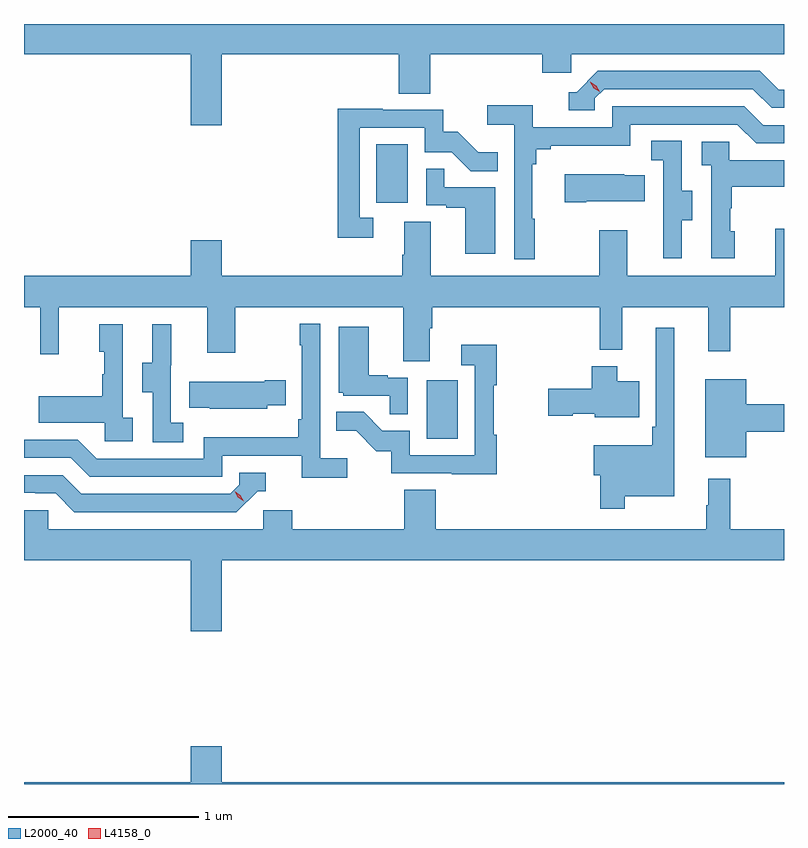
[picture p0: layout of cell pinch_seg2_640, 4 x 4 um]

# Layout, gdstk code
import gdstk
lib = gdstk.Library(unit=1e-6, precision=1e-09)
def R(c, l, rs):  # rectangles x0, y0, x1, y1
    for r in rs: c.add(gdstk.rectangle(r[:2], r[2:], *l))
def P(c, l, *ps):  # polygons
    for p in ps: c.add(gdstk.Polygon(p, *l))
L2000_40 = (2000, 40)
L4158_0 = (4158, 0)

pinch_seg2_640 = lib.new_cell('pinch_seg2_640')
R(pinch_seg2_640, L2000_40, [(1041.374,602.988,1041.538,603.295), (1041.11,604.23,1041.274,604.537)])
P(pinch_seg2_640, L2000_40, [(1040.296,605.012),(1041.227,605.012),(1041.227,604.804),(1041.392,604.804),(1041.392,605.012),(1041.983,605.012),(1041.983,604.914),(1042.134,604.914),(1042.134,605.012),(1043.255,605.012),(1043.255,605.17),(1039.255,605.17),(1039.255,605.012),(1040.132,605.012),(1040.132,604.638),(1040.296,604.638)],
  [(1042.26,604.779),(1042.308,604.827),(1043.091,604.827),(1043.19,604.728),(1043.255,604.728),(1043.255,604.824),(1043.227,604.824),(1043.128,604.923),(1042.275,604.923),(1042.164,604.812),(1042.121,604.812),(1042.121,604.716),(1042.26,604.716)],
  [(1041.943,604.145),(1041.931,604.145),(1041.931,604.433),(1041.95,604.433),(1041.95,604.51),(1042.027,604.51),(1042.027,604.529),(1042.446,604.529),(1042.446,604.641),(1043.01,604.641),(1043.109,604.542),(1043.255,604.542),(1043.255,604.638),(1043.146,604.638),(1043.047,604.737),(1042.35,604.737),(1042.35,604.626),(1041.932,604.626),(1041.932,604.742),(1041.693,604.742),(1041.693,604.64),(1041.834,604.64),(1041.834,603.933),(1041.943,603.933)],
  [(1041.094,604.149),(1041.021,604.149),(1041.021,604.623),(1041.363,604.623),(1041.363,604.494),(1041.507,604.494),(1041.605,604.396),(1041.749,604.396),(1041.749,604.495),(1041.645,604.495),(1041.538,604.602),(1041.462,604.602),(1041.462,604.719),(1041.143,604.719),(1041.143,604.724),(1040.905,604.724),(1040.905,604.044),(1041.094,604.044)],
  [(1042.717,604.138),(1042.771,604.138),(1042.771,604.293),(1042.716,604.293),(1042.716,604.556),(1042.557,604.556),(1042.557,604.453),(1042.62,604.453),(1042.62,604.149),(1042.619,604.149),(1042.619,603.936),(1042.717,603.936)],
  [(1042.996,604.08),(1042.971,604.08),(1042.971,604.199),(1042.981,604.199),(1042.981,604.313),(1043.255,604.313),(1043.255,604.453),(1042.968,604.453),(1042.968,604.551),(1042.821,604.551),(1042.821,604.427),(1042.872,604.427),(1042.872,603.936),(1042.996,603.936)],
  [(1041.736,604.311),(1041.467,604.311),(1041.467,604.409),(1041.372,604.409),(1041.372,604.215),(1041.478,604.215),(1041.478,604.203),(1041.578,604.203),(1041.578,603.96),(1041.736,603.96)],
  [(1042.213,604.238),(1042.523,604.238),(1042.523,604.375),(1042.415,604.375),(1042.415,604.378),(1042.101,604.378),(1042.101,604.231),(1042.213,604.231)],
  [(1041.391,603.568),(1041.404,603.568),(1041.404,603.68),(1042.285,603.68),(1042.285,603.455),(1042.403,603.455),(1042.403,603.68),(1042.856,603.68),(1042.856,603.447),(1042.973,603.447),(1042.973,603.68),(1043.255,603.68),(1043.255,604.093),(1043.21,604.093),(1043.21,603.844),(1042.429,603.844),(1042.429,604.084),(1042.282,604.084),(1042.282,603.844),(1041.397,603.844),(1041.397,604.13),(1041.257,604.13),(1041.257,603.956),(1041.245,603.956),(1041.245,603.844),(1040.296,603.844),(1040.296,604.033),(1040.132,604.033),(1040.132,603.844),(1039.255,603.844),(1039.255,603.68),(1039.341,603.68),(1039.341,603.432),(1039.439,603.432),(1039.439,603.68),(1040.219,603.68),(1040.219,603.441),(1040.367,603.441),(1040.367,603.68),(1041.251,603.68),(1041.251,603.394),(1041.391,603.394)],
  [(1040.956,602.884),(1040.814,602.884),(1040.814,603.592),(1040.706,603.592),(1040.706,603.479),(1040.718,603.479),(1040.718,603.091),(1040.698,603.091),(1040.698,602.995),(1040.202,602.995),(1040.202,602.883),(1039.638,602.883),(1039.539,602.982),(1039.255,602.982),(1039.255,602.886),(1039.502,602.886),(1039.601,602.787),(1040.298,602.787),(1040.298,602.898),(1040.717,602.898),(1040.717,602.782),(1040.956,602.782)],
  [(1039.828,603.098),(1039.776,603.098),(1039.776,603.589),(1039.652,603.589),(1039.652,603.444),(1039.678,603.444),(1039.678,603.326),(1039.668,603.326),(1039.668,603.211),(1039.333,603.211),(1039.333,603.071),(1039.68,603.071),(1039.68,602.973),(1039.828,602.973)],
  [(1040.092,603.071),(1040.028,603.071),(1040.028,603.375),(1040.03,603.375),(1040.03,603.589),(1039.931,603.589),(1039.931,603.387),(1039.877,603.387),(1039.877,603.232),(1039.932,603.232),(1039.932,602.968),(1040.092,602.968)],
  [(1041.276,603.309),(1041.17,603.309),(1041.17,603.322),(1041.07,603.322),(1041.07,603.577),(1040.912,603.577),(1040.912,603.228),(1040.934,603.228),(1040.934,603.213),(1041.181,603.213),(1041.181,603.115),(1041.276,603.115)],
  [(1042.417,602.684),(1042.678,602.684),(1042.678,603.571),(1042.581,603.571),(1042.581,603.049),(1042.561,603.049),(1042.561,602.953),(1042.254,602.953),(1042.254,602.795),(1042.288,602.795),(1042.288,602.619),(1042.417,602.619)],
  [(1041.743,603.008),(1041.728,603.008),(1041.728,603.268),(1041.743,603.268),(1041.743,603.481),(1041.555,603.481),(1041.555,603.375),(1041.627,603.375),(1041.627,602.901),(1041.285,602.901),(1041.285,603.03),(1041.141,603.03),(1041.043,603.128),(1040.899,603.128),(1040.899,603.029),(1041.003,603.029),(1041.11,602.922),(1041.187,602.922),(1041.187,602.805),(1041.505,602.805),(1041.505,602.8),(1041.743,602.8)],
  [(1042.492,603.289),(1042.378,603.289),(1042.378,603.37),(1042.244,603.37),(1042.244,603.249),(1042.014,603.249),(1042.014,603.107),(1042.143,603.107),(1042.143,603.119),(1042.26,603.119),(1042.26,603.101),(1042.492,603.101)],
  [(1043.056,603.023),(1043.255,603.023),(1043.255,603.17),(1043.056,603.17),(1043.056,603.301),(1042.841,603.301),(1042.841,602.891),(1043.056,602.891)],
  [(1040.535,603.164),(1040.633,603.164),(1040.633,603.294),(1040.522,603.294),(1040.522,603.286),(1040.125,603.286),(1040.125,603.149),(1040.233,603.149),(1040.233,603.146),(1040.535,603.146)],
  [(1040.484,602.712),(1040.527,602.712),(1040.527,602.808),(1040.388,602.808),(1040.388,602.745),(1040.34,602.697),(1039.557,602.697),(1039.458,602.796),(1039.255,602.796),(1039.255,602.703),(1039.314,602.703),(1039.314,602.7),(1039.421,602.7),(1039.52,602.601),(1040.373,602.601)],
  [(1040.296,602.348),(1043.255,602.348),(1043.255,602.512),(1042.973,602.512),(1042.973,602.776),(1042.856,602.776),(1042.856,602.636),(1042.845,602.636),(1042.845,602.512),(1041.422,602.512),(1041.422,602.72),(1041.257,602.72),(1041.257,602.512),(1040.666,602.512),(1040.666,602.61),(1040.514,602.61),(1040.514,602.512),(1039.383,602.512),(1039.383,602.61),(1039.255,602.61),(1039.255,602.348),(1040.132,602.348),(1040.132,601.974),(1040.296,601.974)],
  [(1043.255,601.18),(1040.296,601.18),(1040.296,601.369),(1040.132,601.369),(1040.132,601.18),(1039.255,601.18),(1039.255,601.17),(1043.255,601.17)])
P(pinch_seg2_640, L4158_0, [(1042.284,604.813),(1042.253,604.832),(1042.236,604.864),(1042.236,604.865),(1042.236,604.865),(1042.268,604.846),(1042.284,604.813),(1042.284,604.813)],
  [(1040.411,602.659),(1040.38,602.678),(1040.363,602.71),(1040.363,602.71),(1040.364,602.71),(1040.394,602.691),(1040.411,602.659),(1040.411,602.659)])

lib.write_gds('pinch_seg2_640.gds')
